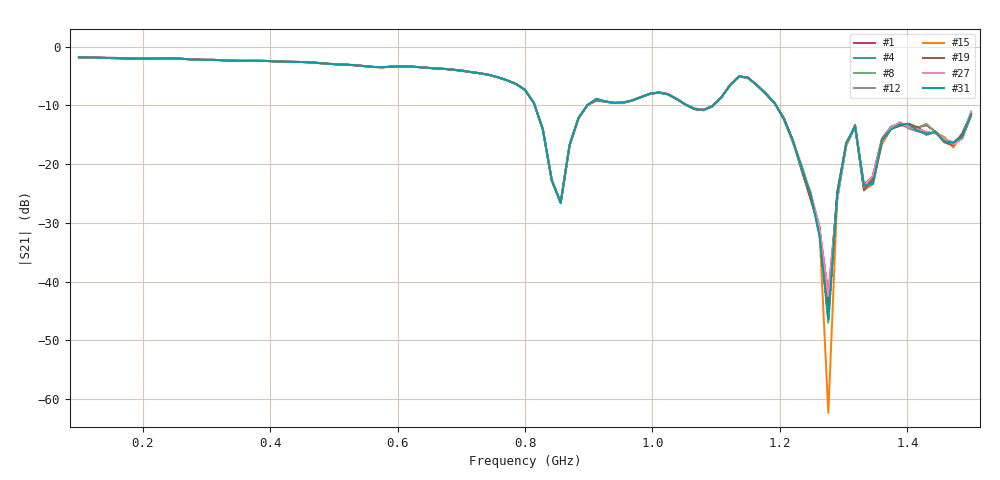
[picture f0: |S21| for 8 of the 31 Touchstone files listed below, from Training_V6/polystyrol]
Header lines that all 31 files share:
! NanoVNA-App
! Start: 100MHz Stop: 1,5GHz Points: 101
! S-Parameter data: F S11 S21 S12 S22
# Hz S RI R 50
!  Frequency  S11_Real  S11_Imag  S21_Real  S21_Imag  S12_Real  S12_Imag  S22_Real  S22_Imag
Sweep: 100 MHz to 1.5 GHz
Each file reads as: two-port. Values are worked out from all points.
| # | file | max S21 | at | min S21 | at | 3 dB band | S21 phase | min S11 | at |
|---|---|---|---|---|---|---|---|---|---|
| 1 | polystyrol (601).s2p | -1.80 dB | 100 MHz | -42.0 dB | 1.276 GHz | 100 MHz-730 MHz | 13 deg at 800 MHz | -39.1 dB | 128 MHz |
| 2 | polystyrol (602).s2p | -1.80 dB | 100 MHz | -48.9 dB | 1.276 GHz | 100 MHz-730 MHz | 13 deg at 800 MHz | -39.1 dB | 128 MHz |
| 3 | polystyrol (603).s2p | -1.80 dB | 100 MHz | -41.9 dB | 1.276 GHz | 100 MHz-730 MHz | 13 deg at 800 MHz | -39.1 dB | 128 MHz |
| 4 | polystyrol (605).s2p | -1.80 dB | 100 MHz | -43.9 dB | 1.276 GHz | 100 MHz-730 MHz | 13 deg at 800 MHz | -39.1 dB | 128 MHz |
| 5 | polystyrol (608).s2p | -1.80 dB | 100 MHz | -41.0 dB | 1.276 GHz | 100 MHz-730 MHz | 13 deg at 800 MHz | -39.1 dB | 128 MHz |
| 6 | polystyrol (609).s2p | -1.80 dB | 100 MHz | -50.4 dB | 1.276 GHz | 100 MHz-730 MHz | 13 deg at 800 MHz | -39.1 dB | 128 MHz |
| 7 | polystyrol (610).s2p | -1.80 dB | 100 MHz | -45.7 dB | 1.276 GHz | 100 MHz-730 MHz | 13 deg at 800 MHz | -39.1 dB | 128 MHz |
| 8 | polystyrol (611).s2p | -1.80 dB | 100 MHz | -47.0 dB | 1.276 GHz | 100 MHz-730 MHz | 13 deg at 800 MHz | -39.1 dB | 128 MHz |
| 9 | polystyrol (612).s2p | -1.80 dB | 100 MHz | -40.8 dB | 1.276 GHz | 100 MHz-730 MHz | 13 deg at 800 MHz | -39.1 dB | 128 MHz |
| 10 | polystyrol (613).s2p | -1.80 dB | 100 MHz | -40.5 dB | 1.276 GHz | 100 MHz-730 MHz | 13 deg at 800 MHz | -39.1 dB | 128 MHz |
| 11 | polystyrol (614).s2p | -1.80 dB | 100 MHz | -40.7 dB | 1.276 GHz | 100 MHz-730 MHz | 13 deg at 800 MHz | -39.1 dB | 128 MHz |
| 12 | polystyrol (616).s2p | -1.80 dB | 100 MHz | -44.0 dB | 1.276 GHz | 100 MHz-730 MHz | 13 deg at 800 MHz | -39.1 dB | 128 MHz |
| 13 | polystyrol (617).s2p | -1.80 dB | 100 MHz | -42.9 dB | 1.276 GHz | 100 MHz-730 MHz | 13 deg at 800 MHz | -39.1 dB | 128 MHz |
| 14 | polystyrol (619).s2p | -1.80 dB | 100 MHz | -41.6 dB | 1.276 GHz | 100 MHz-730 MHz | 13 deg at 800 MHz | -39.1 dB | 128 MHz |
| 15 | polystyrol (620).s2p | -1.80 dB | 100 MHz | -62.4 dB | 1.276 GHz | 100 MHz-730 MHz | 13 deg at 800 MHz | -39.1 dB | 128 MHz |
| 16 | polystyrol (621).s2p | -1.80 dB | 100 MHz | -47.4 dB | 1.276 GHz | 100 MHz-730 MHz | 13 deg at 800 MHz | -39.1 dB | 128 MHz |
| 17 | polystyrol (623).s2p | -1.80 dB | 100 MHz | -51.1 dB | 1.276 GHz | 100 MHz-730 MHz | 13 deg at 800 MHz | -39.1 dB | 128 MHz |
| 18 | polystyrol (625).s2p | -1.80 dB | 100 MHz | -45.1 dB | 1.276 GHz | 100 MHz-730 MHz | 13 deg at 800 MHz | -39.1 dB | 128 MHz |
| 19 | polystyrol (626).s2p | -1.80 dB | 100 MHz | -44.7 dB | 1.276 GHz | 100 MHz-730 MHz | 13 deg at 800 MHz | -39.1 dB | 128 MHz |
| 20 | polystyrol (627).s2p | -1.80 dB | 100 MHz | -45.1 dB | 1.276 GHz | 100 MHz-730 MHz | 13 deg at 800 MHz | -39.1 dB | 128 MHz |
| 21 | polystyrol (628).s2p | -1.80 dB | 100 MHz | -44.3 dB | 1.276 GHz | 100 MHz-730 MHz | 13 deg at 800 MHz | -39.1 dB | 128 MHz |
| 22 | polystyrol (629).s2p | -1.80 dB | 100 MHz | -44.7 dB | 1.276 GHz | 100 MHz-730 MHz | 13 deg at 800 MHz | -39.1 dB | 128 MHz |
| 23 | polystyrol (630).s2p | -1.80 dB | 100 MHz | -45.3 dB | 1.276 GHz | 100 MHz-730 MHz | 13 deg at 800 MHz | -39.1 dB | 128 MHz |
| 24 | polystyrol (631).s2p | -1.80 dB | 100 MHz | -45.1 dB | 1.276 GHz | 100 MHz-730 MHz | 13 deg at 800 MHz | -39.1 dB | 128 MHz |
| 25 | polystyrol (632).s2p | -1.80 dB | 100 MHz | -45.1 dB | 1.276 GHz | 100 MHz-730 MHz | 13 deg at 800 MHz | -39.1 dB | 128 MHz |
| 26 | polystyrol (633).s2p | -1.80 dB | 100 MHz | -43.1 dB | 1.276 GHz | 100 MHz-730 MHz | 13 deg at 800 MHz | -39.1 dB | 128 MHz |
| 27 | polystyrol (636).s2p | -1.80 dB | 100 MHz | -42.5 dB | 1.276 GHz | 100 MHz-730 MHz | 13 deg at 800 MHz | -39.1 dB | 128 MHz |
| 28 | polystyrol (637).s2p | -1.80 dB | 100 MHz | -43.7 dB | 1.276 GHz | 100 MHz-730 MHz | 13 deg at 800 MHz | -39.1 dB | 128 MHz |
| 29 | polystyrol (638).s2p | -1.80 dB | 100 MHz | -43.4 dB | 1.276 GHz | 100 MHz-730 MHz | 13 deg at 800 MHz | -39.1 dB | 128 MHz |
| 30 | polystyrol (639).s2p | -1.80 dB | 100 MHz | -53.7 dB | 1.276 GHz | 100 MHz-730 MHz | 13 deg at 800 MHz | -39.1 dB | 128 MHz |
| 31 | polystyrol (640).s2p | -1.80 dB | 100 MHz | -46.5 dB | 1.276 GHz | 100 MHz-730 MHz | 13 deg at 800 MHz | -39.1 dB | 128 MHz |
